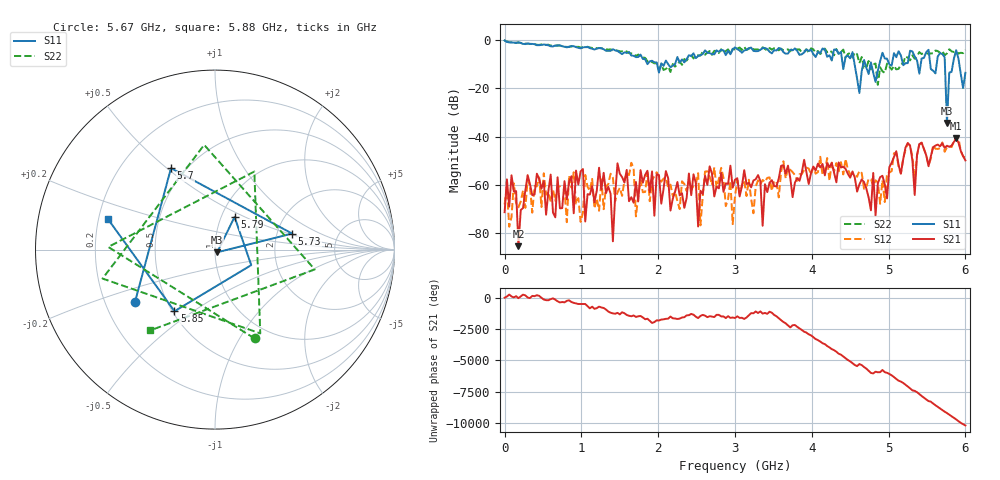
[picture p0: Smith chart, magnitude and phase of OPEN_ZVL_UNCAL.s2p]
#  HZ  S  DB  R  50.0
! Rohde & Schwarz ZVL13 2Ports - Version 3.20 - 1303.6509k13 SN: 100953
! Date: 2024-10-09 07:56:30
! Data & Calibration Information:
! Trc1:S11(Cal Off) Trc4:S21(Cal Off) Trc2:S12(Cal Off) Trc3:S22(Cal Off)
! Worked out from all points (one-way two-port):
!   201 points, 9 kHz to 6 GHz, reference 50 ohm
!   highest |S21| = -40.75 dB at 5.88 GHz (marker M1); lowest = -85.4 dB at 180 MHz (marker M2)
!   lowest |S11| = -34.3 dB at 5.76 GHz (marker M3), VSWR 1.04, Z = 51.2 - j1.53 ohm
!   |S11| at or under -10 dB: 4.557 GHz to 4.669 GHz (111.3 MHz wide, 2.41 % of centre); 4.775 GHz to 4.88 GHz (104.4 MHz wide, 2.16 % of centre); 5.543 GHz to 5.626 GHz (83.66 MHz wide, 1.5 % of centre) (the widest 3 of 13)
!   |S22| runs from -18.6 to -0.2 dB; largest |S21 - S12| = 0.0035
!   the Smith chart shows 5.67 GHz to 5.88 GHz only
!   S11 on the Smith chart (normalised r, x): 5.67 GHz: 0.33, -0.27; 5.7 GHz: 0.42, +0.52; 5.73 GHz: 2.43, +0.54; 5.79 GHz: 1.15, +0.44; 5.85 GHz: 0.51, -0.42; 5.88 GHz: 0.24, +0.13
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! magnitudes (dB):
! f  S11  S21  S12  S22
! 9 kHz  -0.1  -71.3  -68.1  -0.2
! 180 MHz  -1.0  -85.4  -69.3  -0.9
! 300 MHz  -1.4  -55.9  -57.8  -1.5
! 1.02 GHz  -3.0  -53.4  -71.4  -3.0
! 1.41 GHz  -3.8  -83.4  -57.0  -4.2
! 1.47 GHz  -4.5  -51.0  -63.1  -4.4
! 2.01 GHz  -13.5  -55.9  -56.4  -12.1
! 2.52 GHz  -6.6  -77.2  -55.1  -6.3
! 2.55 GHz  -6.2  -62.4  -76.8  -6.4
! 2.61 GHz  -4.2  -56.2  -54.5  -6.1
! 3 GHz  -3.0  -57.8  -64.6  -4.1
! 3.36 GHz  -3.3  -76.9  -58.0  -3.0
! 4.02 GHz  -5.8  -52.4  -52.7  -3.8
! 5.01 GHz  -10.1  -52.6  -54.9  -11.0
! 5.67 GHz  -5.5  -44.0  -44.8  -5.3
! 5.7 GHz  -5.8  -42.7  -42.4  -4.5
! 5.73 GHz  -7.1  -44.7  -46.3  -6.3
! 5.76 GHz  -34.3  -43.8  -44.4  -5.5
! 5.79 GHz  -13.5  -44.2  -44.0  -3.8
! 5.85 GHz  -7.7  -42.2  -42.0  -4.9
! 5.88 GHz  -4.2  -40.8  -39.8  -4.8
! 6 GHz  -13.5  -49.9  -48.7  -4.0
